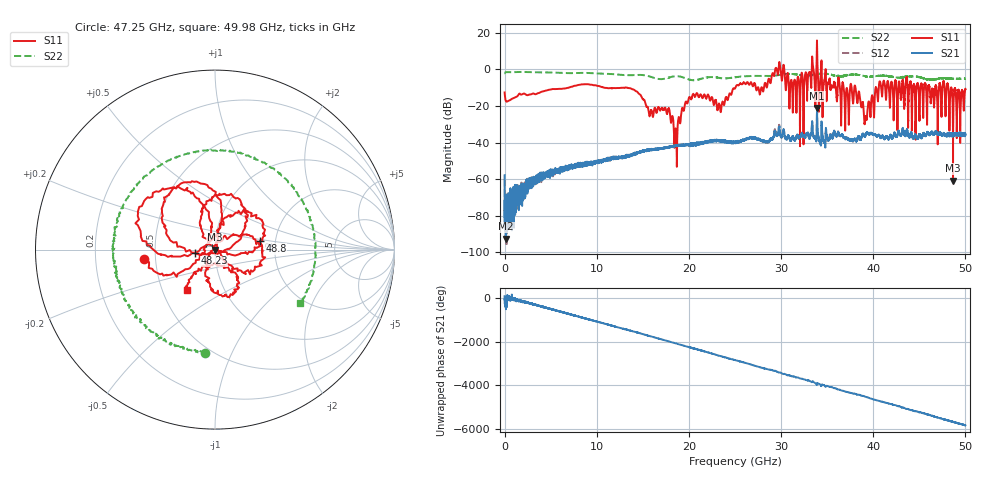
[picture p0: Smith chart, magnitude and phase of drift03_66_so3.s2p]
!Created with skrf (http://scikit-rf.org).
# Hz S RI R 50.0
!freq ReS11 ImS11 ReS21 ImS21 ReS12 ImS12 ReS22 ImS22
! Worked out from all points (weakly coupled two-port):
!   10001 points, 300 kHz to 50 GHz, reference 50 ohm
!   highest |S21| = -21.12 dB at 33.9 GHz (marker M1); lowest = -92.7 dB at 150.3 MHz (marker M2)
!   lowest |S11| = -60.8 dB at 48.66 GHz (marker M3), VSWR 1.00, Z = 49.9 - j0.0577 ohm
!   |S11| at or under -10 dB: start of sweep to 6.939 GHz; 13.32 GHz to 25.04 GHz (11.72 GHz wide, 61.1 % of centre); 38.08 GHz to 40.26 GHz (2.184 GHz wide, 5.58 % of centre) (the widest 3 of 53)
!   |S22| runs from -5.9 to -1.3 dB; largest |S21 - S12| = 0.009
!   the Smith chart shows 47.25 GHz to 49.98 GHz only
!   S11 on the Smith chart (normalised r, x): 47.25 GHz: 0.43, -0.05; 48.23 GHz: 0.80, -0.03; 48.8 GHz: 1.66, +0.17; 49.98 GHz: 0.67, -0.33
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300000  -0.2113 -0.1039  -0.00021 0.00125  -0.000636 0.000771  -0.7613 -0.1989
1.502991e8  -0.12 0.0607  -1.48e-05 -1.79e-05  3.43e-05 -4.06e-05  -0.8093 0.2418
1.535291e9  0.2049 0.0436  -0.000141 -0.000328  -0.000122 -0.000601  0.8489 0.0772
3.160281e9  -0.2185 -0.00849  -7.28e-05 0.00116  0.000158 0.000811  -0.8438 -0.0247
4.665272e9  0.2633 0.0613  -3.8e-06 -0.00158  -5.94e-05 -0.00136  0.8179 0.1421
6.360262e9  -0.3 0.000583  0.000697 0.0015  0.000632 0.00178  -0.8033 -0.0424
8.33525e9  0.2842 -0.2679  -0.00238 -0.000855  -0.00219 -0.000911  0.6018 -0.5363
9.590242e9  -0.3718 -0.0367  0.0015 0.00233  0.0013 0.00224  -0.7875 -0.0726
1.123523e10  0.3049 0.0293  -0.00221 -0.00272  -0.00209 -0.00256  0.7563 0.0341
1.66702e10  0.0538 0.075  0.00462 -0.00486  0.00466 -0.00502  -0.3604 0.4179
2.500015e10  -0.2979 -0.0483  0.00787 0.00643  0.00751 0.00644  -0.1834 -0.5825
3.051012e10  0.2487 -0.1036  -0.00253 0.0129  -0.00224 0.0128  0.7416 -0.0597
3.213011e10  0.2012 0.3756  0.000146 -0.0142  -0.000322 -0.0152  -0.6999 0.0104
3.33351e10  0.4663 -0.9893  -0.0051 0.0244  -0.00547 0.0237  0.6156 0.3654
3.39001e10  1.896 -5.706  0.0772 0.042  0.0726 0.0363  0.6741 -0.3246
4.167005e10  -0.2268 0.2849  -0.012 -0.00431  -0.0116 -0.00455  -0.6499 -0.058
4.724502e10  -0.3969 -0.0514  -0.00668 -0.0181  -0.008 -0.0167  -0.0564 -0.5747
4.823001e10  -0.1133 -0.0202  -0.00893 0.0121  -0.0102 0.0125  -0.5435 0.1765
4.866001e10  -0.000707 -0.000578  0.00311 0.0168  0.00393 0.0157  -0.259 0.4972
4.879501e10  0.2499 0.0488  0.00756 0.0137  0.00865 0.014  -0.1236 0.5413
4.998e10  -0.1557 -0.2278  0.00189 -0.0165  0.00165 -0.0162  0.4747 -0.2977
5e10  -0.1422 -0.2542  0.000979 -0.016  0.00128 -0.0171  0.4692 -0.3159
